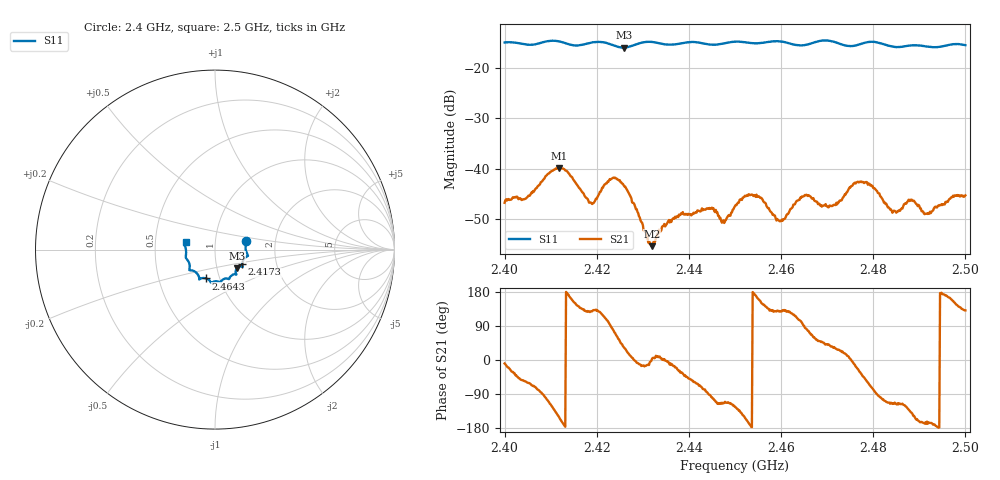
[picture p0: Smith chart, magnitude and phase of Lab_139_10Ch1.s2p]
# Hz S RI R 50
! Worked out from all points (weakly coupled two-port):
!   601 points, 2.4 GHz to 2.5 GHz, reference 50 ohm
!   highest |S21| = -39.85 dB at 2.4118 GHz (marker M1); lowest = -55.4 dB at 2.432 GHz (marker M2)
!   lowest |S11| = -15.9 dB at 2.4258 GHz (marker M3), VSWR 1.38, Z = 62.3 - j13.3 ohm
!   |S11| at or under -10 dB: start of sweep to end of sweep
!   S12 and S22 are empty: the file has one direction only
!   S11 on the Smith chart (normalised r, x): 2.4 GHz: 1.41, +0.14; 2.4173 GHz: 1.34, -0.23; 2.4643 GHz: 0.86, -0.28; 2.5 GHz: 0.72, +0.06
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2.4e9  0.1729 0.0494  0.00453 -0.000737  0 0  0 0
2.411833e9  0.1808 -0.0369  -0.00889 -0.00495  0 0  0 0
2.416667e9  0.1528 -0.0744  -0.00433 0.00416  0 0  0 0
2.417333e9  0.1521 -0.0816  -0.00347 0.00414  0 0  0 0
2.423333e9  0.1427 -0.0933  0.000868 0.00797  0 0  0 0
2.425833e9  0.1219 -0.1036  0.00568 0.00384  0 0  0 0
2.432e9  0.1183 -0.1385  0.0017 0.000102  0 0  0 0
2.433333e9  0.1129 -0.1369  0.00224 0.000289  0 0  0 0
2.438333e9  0.0817 -0.156  0.00304 -0.00197  0 0  0 0
2.444833e9  0.057 -0.1612  -0.000536 -0.00398  0 0  0 0
2.4475e9  0.0379 -0.1716  -0.00127 -0.0028  0 0  0 0
2.45e9  0.0294 -0.181  -0.00237 -0.00353  0 0  0 0
2.454667e9  0.0047 -0.1765  -0.00539 0.00125  0 0  0 0
2.459833e9  -0.0235 -0.1829  -0.00185 0.00239  0 0  0 0
2.464333e9  -0.0499 -0.1606  -0.00106 0.00501  0 0  0 0
2.466667e9  -0.0758 -0.1598  0.002 0.00465  0 0  0 0
2.471333e9  -0.0875 -0.1614  0.00368 0.00234  0 0  0 0
2.478167e9  -0.1365 -0.1156  0.00479 -0.00547  0 0  0 0
2.483333e9  -0.1408 -0.0897  -0.00157 -0.00381  0 0  0 0
2.488167e9  -0.1605 -0.0497  -0.00359 -0.00325  0 0  0 0
2.491667e9  -0.1613 -0.0286  -0.00343 -0.00108  0 0  0 0
2.5e9  -0.1637 0.0421  -0.00357 0.00411  0 0  0 0
